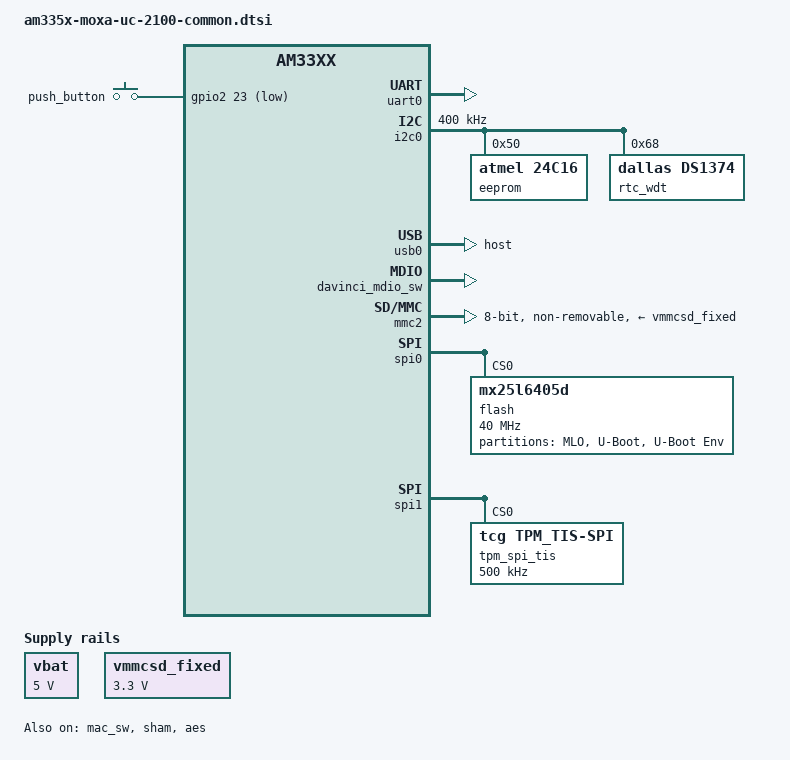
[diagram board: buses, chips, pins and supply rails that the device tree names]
// SPDX-License-Identifier: GPL-2.0
/*
 * Copyright (C) 2018 MOXA Inc. - https://www.moxa.com/
 *
 * Authors: SZ Lin (林上智) <sz.lin@moxa.com>
 *          Wes Huang (黃淵河) <wes.huang@moxa.com>
 *          Fero JD Zhou (周俊達) <FeroJD.Zhou@moxa.com>
 */

#include "am33xx.dtsi"

/ {
	vbat: vbat-regulator {
		compatible = "regulator-fixed";
	};

	/* Power supply provides a fixed 3.3V @3A */
	vmmcsd_fixed: vmmcsd-regulator {
	      compatible = "regulator-fixed";
	      regulator-name = "vmmcsd_fixed";
	      regulator-min-microvolt = <3300000>;
	      regulator-max-microvolt = <3300000>;
	      regulator-boot-on;
	};

	buttons: push_button {
		compatible = "gpio-keys";
	};
};

&am33xx_pinmux {
	pinctrl-names = "default";

	i2c0_pins: pinmux_i2c0_pins {
		pinctrl-single,pins = <
			AM33XX_PADCONF(AM335X_PIN_I2C0_SDA, PIN_INPUT_PULLUP, MUX_MODE0)
			AM33XX_PADCONF(AM335X_PIN_I2C0_SCL, PIN_INPUT_PULLUP, MUX_MODE0)
		>;
	};

	push_button_pins: pinmux_push_button {
		pinctrl-single,pins = <
			AM33XX_PADCONF(AM335X_PIN_LCD_HSYNC, PIN_INPUT_PULLDOWN, MUX_MODE7)	/* lcd_hsync.gpio2_23 */
		>;
	};

	uart0_pins: pinmux_uart0_pins {
		pinctrl-single,pins = <
			AM33XX_PADCONF(AM335X_PIN_UART0_RXD, PIN_INPUT_PULLUP, MUX_MODE0)
			AM33XX_PADCONF(AM335X_PIN_UART0_TXD, PIN_OUTPUT_PULLDOWN, MUX_MODE0)
		>;
	};

	davinci_mdio_default: davinci_mdio_default {
		pinctrl-single,pins = <
			/* MDIO */
			AM33XX_PADCONF(AM335X_PIN_MDIO, PIN_INPUT_PULLUP | SLEWCTRL_FAST, MUX_MODE0)
			AM33XX_PADCONF(AM335X_PIN_MDC, PIN_OUTPUT_PULLUP, MUX_MODE0)
		>;
	};

	mmc1_pins_default: pinmux_mmc1_pins {
		pinctrl-single,pins = <
			/* eMMC */
			AM33XX_PADCONF(AM335X_PIN_GPMC_AD0, PIN_INPUT_PULLUP, MUX_MODE1)	/* gpmc_ad12.mmc1_dat0 */
			AM33XX_PADCONF(AM335X_PIN_GPMC_AD1, PIN_INPUT_PULLUP, MUX_MODE1)	/* gpmc_ad13.mmc1_dat1 */
			AM33XX_PADCONF(AM335X_PIN_GPMC_AD2, PIN_INPUT_PULLUP, MUX_MODE1)	/* gpmc_ad14.mmc1_dat2 */
			AM33XX_PADCONF(AM335X_PIN_GPMC_AD3, PIN_INPUT_PULLUP, MUX_MODE1)	/* gpmc_ad15.mmc1_dat3 */
			AM33XX_PADCONF(AM335X_PIN_GPMC_AD4, PIN_INPUT_PULLUP, MUX_MODE1)	/* gpmc_ad8.mmc1_dat4 */
			AM33XX_PADCONF(AM335X_PIN_GPMC_AD5, PIN_INPUT_PULLUP, MUX_MODE1)	/* gpmc_ad9.mmc1_dat5 */
			AM33XX_PADCONF(AM335X_PIN_GPMC_AD6, PIN_INPUT_PULLUP, MUX_MODE1)	/* gpmc_ad10.mmc1_dat6 */
			AM33XX_PADCONF(AM335X_PIN_GPMC_AD7, PIN_INPUT_PULLUP, MUX_MODE1)	/* gpmc_ad11.mmc1_dat7 */
			AM33XX_PADCONF(AM335X_PIN_GPMC_CSN2, PIN_INPUT_PULLUP, MUX_MODE2)	/* gpmc_csn2.mmc1_cmd */
			AM33XX_PADCONF(AM335X_PIN_GPMC_CSN1, PIN_INPUT_PULLUP, MUX_MODE2)	/* gpmc_csn1.mmc1_clk */
		>;
	};

	spi0_pins: pinmux_spi0 {
		pinctrl-single,pins = <
			AM33XX_PADCONF(AM335X_PIN_SPI0_SCLK, PIN_INPUT_PULLUP, MUX_MODE0)
			AM33XX_PADCONF(AM335X_PIN_SPI0_CS0, PIN_INPUT_PULLUP, MUX_MODE0)
			AM33XX_PADCONF(AM335X_PIN_SPI0_D0, PIN_INPUT_PULLUP, MUX_MODE0)
			AM33XX_PADCONF(AM335X_PIN_SPI0_D1, PIN_INPUT_PULLUP, MUX_MODE0)
		>;
	};
};

&uart0 {
	/* Console */
	status = "okay";
	pinctrl-names = "default";
	pinctrl-0 = <&uart0_pins>;
};

&i2c0 {
	pinctrl-names = "default";
	pinctrl-0 = <&i2c0_pins>;

	status = "okay";
	clock-frequency = <400000>;

	eeprom: eeprom@50 {
		compatible = "atmel,24c16";
		pagesize = <16>;
		reg = <0x50>;
	};

	rtc_wdt: rtc_wdt@68 {
		compatible = "dallas,ds1374";
		reg = <0x68>;
	};
};

&usb0 {
	dr_mode = "host";
};

/* Power */
&vbat {
	regulator-name = "vbat";
	regulator-min-microvolt = <5000000>;
	regulator-max-microvolt = <5000000>;
};

&mac_sw {
	pinctrl-names = "default";
	pinctrl-0 = <&cpsw_default>;
	status = "okay";
};

&davinci_mdio_sw {
	pinctrl-names = "default";
	pinctrl-0 = <&davinci_mdio_default>;
	status = "okay";
};

&cpsw_port1 {
	ti,dual-emac-pvid = <1>;
};

&cpsw_port2 {
	ti,dual-emac-pvid = <2>;
};

&sham {
	status = "okay";
};

&aes {
	status = "okay";
};

&gpio0_target {
	ti,no-reset-on-init;
};

&mmc2 {
	pinctrl-names = "default";
	vmmc-supply = <&vmmcsd_fixed>;
	bus-width = <8>;
	pinctrl-0 = <&mmc1_pins_default>;
	non-removable;
	status = "okay";
};

&buttons {
	pinctrl-names = "default";
	pinctrl-0 = <&push_button_pins>;
	#address-cells = <1>;
	#size-cells = <0>;

	button@0 {
		label = "push_button";
		linux,code = <0x100>;
		gpios = <&gpio2 23 GPIO_ACTIVE_LOW>;
	};
};

/* SPI Busses */
&spi0 {
	status = "okay";
	pinctrl-names = "default";
	pinctrl-0 = <&spi0_pins>;

	flash@0 {
		compatible = "mx25l6405d";
		spi-max-frequency = <40000000>;

		reg = <0>;
		spi-cpol;
		spi-cpha;

		partitions {
			compatible = "fixed-partitions";
			#address-cells = <1>;
			#size-cells = <1>;

			/* reg : The partition's offset and size within the mtd bank. */
			partitions@0 {
				label = "MLO";
				reg = <0x0 0x80000>;
			};

			partitions@1 {
				label = "U-Boot";
				reg = <0x80000 0x100000>;
			};

			partitions@2 {
				label = "U-Boot Env";
				reg = <0x180000 0x40000>;
			};
		};
	};
};

&spi1 {
	status = "okay";
	pinctrl-names = "default";
	pinctrl-0 = <&spi1_pins>;

	tpm_spi_tis@0 {
		compatible = "tcg,tpm_tis-spi";
		reg = <0>;
		spi-max-frequency = <500000>;
	};
};
